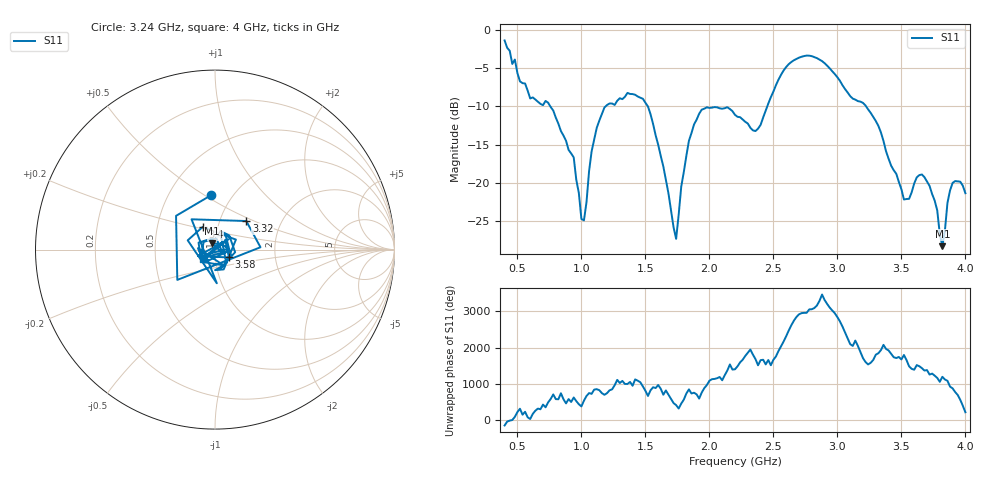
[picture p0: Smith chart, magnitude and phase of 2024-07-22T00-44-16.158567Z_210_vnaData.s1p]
!Created with skrf (http://scikit-rf.org).
# Hz S RI R 50.0
!freq ReS11 ImS11
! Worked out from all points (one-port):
!   181 points, 400 MHz to 4 GHz, reference 50 ohm
!   lowest |S11| = -28.3 dB at 3.82 GHz (marker M1), VSWR 1.08, Z = 48.3 + j3.36 ohm
!   |S11| at or under -10 dB: 757.3 MHz to 1.188 GHz (431.1 MHz wide, 44.3 % of centre); 1.52 GHz to 2.452 GHz (931.9 MHz wide, 46.9 % of centre); 3.225 GHz to end of sweep
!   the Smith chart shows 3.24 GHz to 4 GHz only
!   S11 on the Smith chart (normalised r, x): 3.24 GHz: 0.80, +0.53; 3.32 GHz: 1.34, +0.45; 3.4 GHz: 0.84, +0.22; 3.58 GHz: 1.16, -0.09; 4 GHz: 0.87, -0.09
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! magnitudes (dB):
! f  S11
! 400 MHz  -1.3
! 600 MHz  -9.0
! 740 MHz  -9.5
! 860 MHz  -13.8
! 940 MHz  -16.7
! 1.02 GHz  -25.0
! 1.12 GHz  -12.8
! 1.3 GHz  -8.9
! 1.52 GHz  -10.0
! 1.74 GHz  -27.4
! 1.76 GHz  -24.2
! 1.84 GHz  -14.5
! 1.92 GHz  -11.0
! 2.2 GHz  -11.1
! 2.36 GHz  -13.2
! 2.66 GHz  -3.9
! 2.88 GHz  -4.0
! 3.1 GHz  -8.6
! 3.24 GHz  -10.4
! 3.32 GHz  -12.5
! 3.4 GHz  -16.9
! 3.56 GHz  -22.1
! 3.58 GHz  -21.3
! 3.64 GHz  -19.0
! 3.72 GHz  -20.4
! 3.82 GHz  -28.3
! 3.9 GHz  -20.0
! 4 GHz  -21.4
